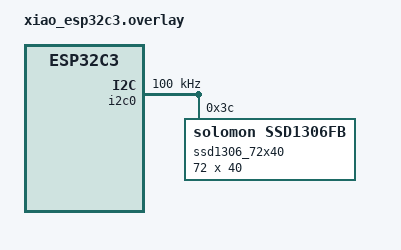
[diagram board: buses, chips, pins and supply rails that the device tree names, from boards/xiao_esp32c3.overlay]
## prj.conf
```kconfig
CONFIG_STDOUT_CONSOLE=y

CONFIG_HEAP_MEM_POOL_SIZE=16384

CONFIG_DISPLAY=y

CONFIG_LOG=y

CONFIG_CFB_LOG_LEVEL_DBG=y
CONFIG_I2C_LOG_LEVEL_DBG=y
CONFIG_DISPLAY_LOG_LEVEL_DBG=y
CONFIG_CHARACTER_FRAMEBUFFER=y
CONFIG_I2C=y

# 0xaf
# CONFIG_SSD1306_DEFAULT_CONTRAST=175
```

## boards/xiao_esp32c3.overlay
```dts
/* OLED display */
/ {
	chosen {
		zephyr,display = &ssd1306_72x40;
	};
};

&i2c0 {
	status = "okay";
	clock-frequency = <I2C_BITRATE_STANDARD>;

	pinctrl-0 = <&i2c0_default>;
	pinctrl-names = "default";

	ssd1306_72x40: ssd1306@3c {
		/* compatible = "sinowealth,sh1106"; */
		compatible = "solomon,ssd1306fb";
		reg = <0x3c>;
		width = <72>;
		height = <40>;
		segment-offset = <28>;
		page-offset = <0>;
		display-offset = <0>;
		multiplex-ratio = <0x27>;
		prechargep = <0x22>;
		ready-time-ms = <10>;
		segment-remap;
		com-invdir;
		use-internal-iref;
		use-alternative-write;
	};
};


&pinctrl {
	i2c0_default: i2c0_default {
		group1 {
			pinmux = <I2C0_SDA_GPIO5>,
				 <I2C0_SCL_GPIO6>;
			bias-pull-up;
			drive-open-drain;
			output-high;
		};
	};
};
```

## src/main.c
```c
/*
 * Copyright (c) 2018 PHYTEC Messtechnik GmbH
 *
 * SPDX-License-Identifier: Apache-2.0
 */

#include <zephyr/kernel.h>
#include <zephyr/device.h>
#include <zephyr/display/cfb.h>
#include <stdio.h>

int main(void)
{
	const struct device *dev;
	uint16_t x_res;
	uint16_t y_res;
	uint16_t rows;
	uint8_t ppt;
	uint8_t font_width;
	uint8_t font_height;

	dev = DEVICE_DT_GET(DT_CHOSEN(zephyr_display));
	if (!device_is_ready(dev)) {
		printf("Device %s not ready\n", dev->name);
		return 0;
	}

	if (display_set_pixel_format(dev, PIXEL_FORMAT_MONO10) != 0) {
		if (display_set_pixel_format(dev, PIXEL_FORMAT_MONO01) != 0) {
			printf("Failed to set required pixel format");
			return 0;
		}
	}

	printf("Initialized %s\n", dev->name);

	if (cfb_framebuffer_init(dev)) {
		printf("Framebuffer initialization failed!\n");
		return 0;
	}

	cfb_framebuffer_clear(dev, true);

	display_blanking_off(dev);

	x_res = cfb_get_display_parameter(dev, CFB_DISPLAY_WIDTH);
	y_res = cfb_get_display_parameter(dev, CFB_DISPLAY_HEIGH);
	rows = cfb_get_display_parameter(dev, CFB_DISPLAY_ROWS);
	ppt = cfb_get_display_parameter(dev, CFB_DISPLAY_PPT);

	for (int idx = 0; idx < 42; idx++) {
		if (cfb_get_font_size(dev, idx, &font_width, &font_height)) {
			break;
		}
		cfb_framebuffer_set_font(dev, idx);
		printf("font width %d, font height %d\n", font_width, font_height);
		break;
	}

	printf("x_res %d, y_res %d, ppt %d, rows %d, cols %d\n",
	       x_res,
	       y_res,
	       ppt,
	       rows,
	       cfb_get_display_parameter(dev, CFB_DISPLAY_COLS));

	cfb_framebuffer_invert(dev);

	cfb_set_kerning(dev, 3);

	while (1) {
		for (int i = 0; i < y_res; i++) {
			cfb_framebuffer_clear(dev, false);
			if (cfb_print(dev,
				      "hola",
				      0, i)) {
				printf("Failed to print a string\n");
				continue;
			}

			cfb_framebuffer_finalize(dev);
#if defined(CONFIG_ARCH_POSIX)
			k_sleep(K_MSEC(20));
#endif
		}
	}
	return 0;
}
```
